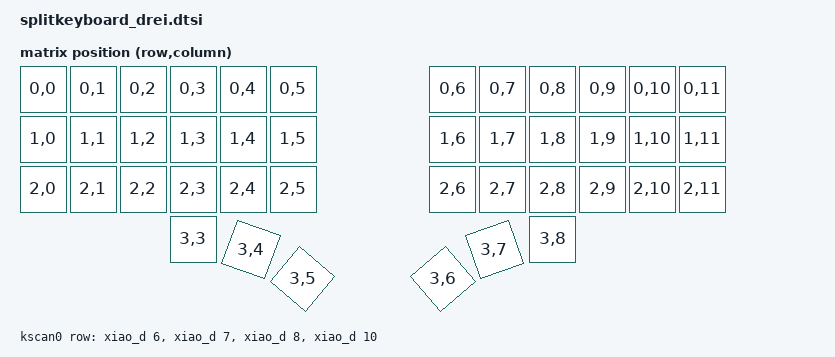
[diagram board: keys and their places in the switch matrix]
#include <dt-bindings/zmk/matrix_transform.h>
#include <physical_layouts.dtsi>

/ {

    chosen {
        zmk,kscan = &kscan0;
        zmk,matrix_transform = &default_transform;
    };

    default_transform: keymap_transform0 {
        compatible = "zmk,matrix-transform";
        columns = <12>;
        rows = <4>;
            // | SW1  | SW2  | SW3  | SW4  | SW5  | SW6  |   | SW6  | SW5  | SW4  | SW3  | SW2  | SW1  |
            // | SW7  | SW8  | SW9  | SW10 | SW11 | SW12 |   | SW12 | SW11 | SW10 | SW9  | SW8  | SW7  |
            // | SW13 | SW14 | SW15 | SW16 | SW17 | SW18 |   | SW18 | SW17 | SW16 | SW15 | SW14 | SW13 |
            //                      | SW19 | SW20 | SW21 |   | SW21 | SW20 | SW19 |
        map = <
            RC(0,0) RC(0,1) RC(0,2) RC(0,3) RC(0,4) RC(0,5)  RC(0,6) RC(0,7) RC(0,8) RC(0,9) RC(0,10) RC(0,11)
            RC(1,0) RC(1,1) RC(1,2) RC(1,3) RC(1,4) RC(1,5)  RC(1,6) RC(1,7) RC(1,8) RC(1,9) RC(1,10) RC(1,11)
            RC(2,0) RC(2,1) RC(2,2) RC(2,3) RC(2,4) RC(2,5)  RC(2,6) RC(2,7) RC(2,8) RC(2,9) RC(2,10) RC(2,11)
                                    RC(3,3) RC(3,4) RC(3,5)  RC(3,6) RC(3,7) RC(3,8)
        >;
    };

    kscan0: kscan0 {
        compatible = "zmk,kscan-gpio-matrix";
        diode-direction = "col2row";
        wakeup-source;

        row-gpios
            = <&xiao_d 6 (GPIO_ACTIVE_HIGH | GPIO_PULL_DOWN)>
            , <&xiao_d 7 (GPIO_ACTIVE_HIGH | GPIO_PULL_DOWN)>
            , <&xiao_d 8 (GPIO_ACTIVE_HIGH | GPIO_PULL_DOWN)>
            , <&xiao_d 10 (GPIO_ACTIVE_HIGH | GPIO_PULL_DOWN)>
            ;

    };

    physical_layout0: physical_layout_0 {
        compatible = "zmk,physical-layout";
        display-name = "LAYOUT";

        kscan = <&kscan0>;
        transform = <&default_transform>;

        keys  //                     w   h    x    y     rot    rx    ry
            = <&key_physical_attrs 100 100    0    0       0     0     0>
            , <&key_physical_attrs 100 100  100    0       0     0     0>
            , <&key_physical_attrs 100 100  200    0       0     0     0>
            , <&key_physical_attrs 100 100  300    0       0     0     0>
            , <&key_physical_attrs 100 100  400    0       0     0     0>
            , <&key_physical_attrs 100 100  500    0       0     0     0>
            , <&key_physical_attrs 100 100  819    0       0     0     0>
            , <&key_physical_attrs 100 100  919    0       0     0     0>
            , <&key_physical_attrs 100 100 1019    0       0     0     0>
            , <&key_physical_attrs 100 100 1119    0       0     0     0>
            , <&key_physical_attrs 100 100 1219    0       0     0     0>
            , <&key_physical_attrs 100 100 1319    0       0     0     0>
            , <&key_physical_attrs 100 100    0  100       0     0     0>
            , <&key_physical_attrs 100 100  100  100       0     0     0>
            , <&key_physical_attrs 100 100  200  100       0     0     0>
            , <&key_physical_attrs 100 100  300  100       0     0     0>
            , <&key_physical_attrs 100 100  400  100       0     0     0>
            , <&key_physical_attrs 100 100  500  100       0     0     0>
            , <&key_physical_attrs 100 100  819  100       0     0     0>
            , <&key_physical_attrs 100 100  919  100       0     0     0>
            , <&key_physical_attrs 100 100 1019  100       0     0     0>
            , <&key_physical_attrs 100 100 1119  100       0     0     0>
            , <&key_physical_attrs 100 100 1219  100       0     0     0>
            , <&key_physical_attrs 100 100 1319  100       0     0     0>
            , <&key_physical_attrs 100 100    0  200       0     0     0>
            , <&key_physical_attrs 100 100  100  200       0     0     0>
            , <&key_physical_attrs 100 100  200  200       0     0     0>
            , <&key_physical_attrs 100 100  300  200       0     0     0>
            , <&key_physical_attrs 100 100  400  200       0     0     0>
            , <&key_physical_attrs 100 100  500  200       0     0     0>
            , <&key_physical_attrs 100 100  819  200       0     0     0>
            , <&key_physical_attrs 100 100  919  200       0     0     0>
            , <&key_physical_attrs 100 100 1019  200       0     0     0>
            , <&key_physical_attrs 100 100 1119  200       0     0     0>
            , <&key_physical_attrs 100 100 1219  200       0     0     0>
            , <&key_physical_attrs 100 100 1319  200       0     0     0>
            , <&key_physical_attrs 100 100  300  300       0     0     0>
            , <&key_physical_attrs 100 100  416  321    2000   466   371>
            , <&key_physical_attrs 100 100  519  380    4000   569   430>
            , <&key_physical_attrs 100 100  800  380 (-4000)   850   430>
            , <&key_physical_attrs 100 100  903  321 (-2000)   953   371>
            , <&key_physical_attrs 100 100 1019  300       0     0     0>
            ;
    };

};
